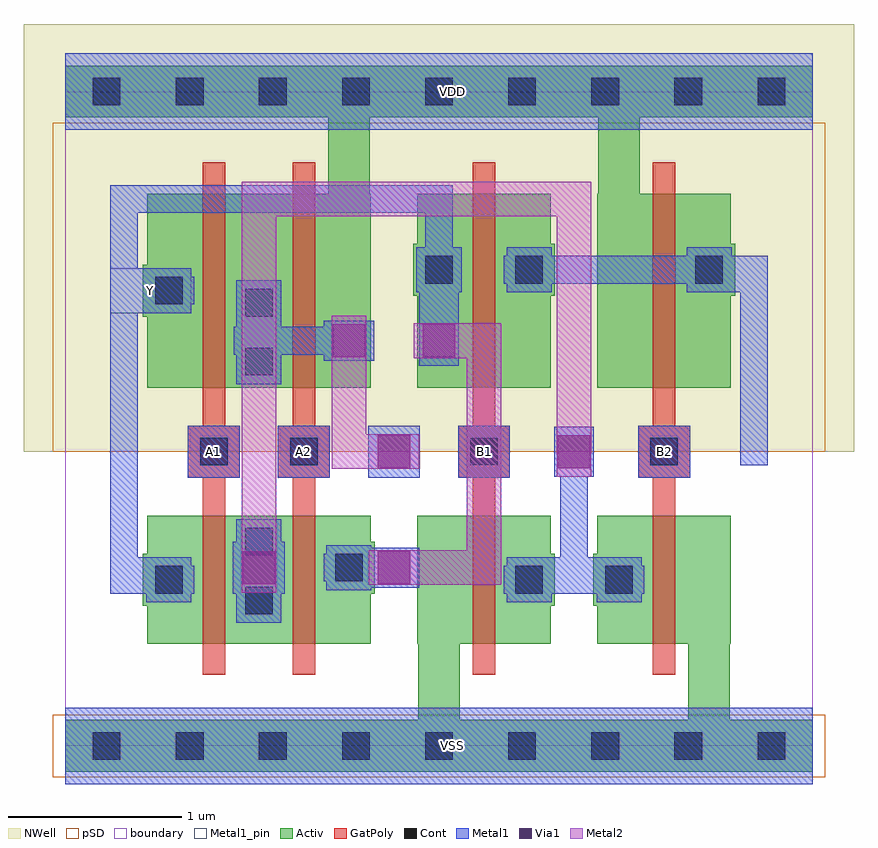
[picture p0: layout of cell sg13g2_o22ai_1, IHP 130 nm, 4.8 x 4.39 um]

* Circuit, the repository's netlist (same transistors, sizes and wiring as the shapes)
.SUBCKT sg13g2_o22ai_1 Y A1 A2 B1 B2 VDD VSS
*.PININFO A1:I A2:I B1:I B2:I Y:O VDD:B VSS:B
MN0 Y A1 net1 VSS sg13_lv_nmos w=740.00n l=130.00n ng=1
MN1 Y A2 net1 VSS sg13_lv_nmos w=740.00n l=130.00n ng=1
MN2 net1 B1 VSS VSS sg13_lv_nmos w=740.00n l=130.00n ng=1
MN3 net1 B2 VSS VSS sg13_lv_nmos w=740.00n l=130.00n ng=1
MP0 Y A1 net2 VDD sg13_lv_pmos w=1.12u l=130.00n ng=1
MP1 net2 A2 VDD VDD sg13_lv_pmos w=1.12u l=130.00n ng=1
MP2 Y B1 net3 VDD sg13_lv_pmos w=1.12u l=130.00n ng=1
MP3 net3 B2 VDD VDD sg13_lv_pmos w=1.12u l=130.00n ng=1
.ENDS

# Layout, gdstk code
import gdstk
lib = gdstk.Library(unit=1e-6, precision=1e-09)
def R(c, l, rs):  # rectangles x0, y0, x1, y1
    for r in rs: c.add(gdstk.rectangle(r[:2], r[2:], *l))
def A(c, l, x, y, w, h, nx, ny, dx, dy):  # array of equal rectangles
    R(c, l, [(x+i*dx, y+j*dy, x+i*dx+w, y+j*dy+h) for i in range(nx) for j in range(ny)])
def P(c, l, *ps):  # polygons
    for p in ps: c.add(gdstk.Polygon(p, *l))
Activ = (1, 0)
GatPoly = (5, 0)
Cont = (6, 0)
Metal1 = (8, 0)
Metal1_pin = (8, 2)
Metal2 = (10, 0)
pSD = (14, 0)
Via1 = (19, 0)
NWell = (31, 0)
boundary = (189, 4)

sg13g2_o22ai_1 = lib.new_cell('sg13g2_o22ai_1')
P(sg13g2_o22ai_1, Activ, [(0,-0.15),(4.32,-0.15),(4.32,0.15),(3.84,0.15),(3.84,0.59),(3.845,0.59),(3.845,1.33),(3.075,1.33),(3.075,1.11),(3.05,1.11),(3.05,0.81),(3.075,0.81),(3.075,0.59),(3.6,0.59),(3.6,0.15),(2.28,0.15),(2.28,0.59),(2.805,0.59),(2.805,0.81),(2.83,0.81),(2.83,1.11),(2.805,1.11),(2.805,1.33),(2.035,1.33),(2.035,0.59),(2.04,0.59),(2.04,0.15),(0,0.15)],
  [(0,3.63),(1.52,3.63),(1.52,3.19),(0.475,3.19),(0.475,2.78),(0.45,2.78),(0.45,2.48),(0.475,2.48),(0.475,2.07),(1.765,2.07),(1.765,3.19),(1.76,3.19),(1.76,3.63),(3.08,3.63),(3.08,3.19),(3.075,3.19),(3.075,2.07),(3.845,2.07),(3.845,2.6),(3.87,2.6),(3.87,2.9),(3.845,2.9),(3.845,3.19),(3.32,3.19),(3.32,3.63),(4.32,3.63),(4.32,3.93),(0,3.93)],
  [(0.45,0.81),(0.475,0.81),(0.475,0.59),(1.765,0.59),(1.765,0.88),(1.79,0.88),(1.79,1.18),(1.765,1.18),(1.765,1.33),(0.475,1.33),(0.475,1.11),(0.45,1.11)],
  [(2.01,2.6),(2.035,2.6),(2.035,2.07),(2.805,2.07),(2.805,2.6),(2.83,2.6),(2.83,2.9),(2.805,2.9),(2.805,3.19),(2.035,3.19),(2.035,2.9),(2.01,2.9)])
P(sg13g2_o22ai_1, GatPoly, [(0.71,1.55),(0.795,1.55),(0.795,0.41),(0.925,0.41),(0.925,1.55),(1.01,1.55),(1.01,1.85),(0.925,1.85),(0.925,3.37),(0.795,3.37),(0.795,1.85),(0.71,1.85)],
  [(1.23,1.55),(1.315,1.55),(1.315,0.41),(1.445,0.41),(1.445,1.55),(1.53,1.55),(1.53,1.85),(1.445,1.85),(1.445,3.37),(1.315,3.37),(1.315,1.85),(1.23,1.85)],
  [(2.27,1.55),(2.355,1.55),(2.355,0.41),(2.485,0.41),(2.485,1.55),(2.57,1.55),(2.57,1.85),(2.485,1.85),(2.485,3.37),(2.355,3.37),(2.355,1.85),(2.27,1.85)],
  [(3.31,1.55),(3.395,1.55),(3.395,0.41),(3.525,0.41),(3.525,1.55),(3.61,1.55),(3.61,1.85),(3.525,1.85),(3.525,3.37),(3.395,3.37),(3.395,1.85),(3.31,1.85)])
A(sg13g2_o22ai_1, Cont, 0.16, -0.08, 0.16, 0.16, 9, 2, 0.48, 3.78)
A(sg13g2_o22ai_1, Cont, 1.3, 1.62, 0.16, 0.16, 3, 1, 1.04, 0)
R(sg13g2_o22ai_1, Cont, [(1.04,0.76,1.2,0.92), (0.52,0.88,0.68,1.04), (2.6,0.88,2.76,1.04), (3.12,0.88,3.28,1.04), (1.56,0.95,1.72,1.11), (1.04,1.1,1.2,1.26), (0.78,1.62,0.94,1.78), (1.04,2.14,1.2,2.3), (1.04,2.48,1.2,2.64), (0.52,2.55,0.68,2.71), (2.08,2.67,2.24,2.83), (2.6,2.67,2.76,2.83), (3.64,2.67,3.8,2.83)])
A(sg13g2_o22ai_1, Metal1, 0.71, 1.55, 0.3, 0.3, 4, 1, 0.52, 0)
R(sg13g2_o22ai_1, Metal1, [(0,-0.22,4.32,0.22), (3.31,1.55,3.61,1.85), (0,3.56,4.32,4)])
P(sg13g2_o22ai_1, Metal1, [(0.26,0.88),(0.47,0.88),(0.47,0.83),(0.73,0.83),(0.73,0.88),(0.745,0.88),(0.745,1.04),(0.73,1.04),(0.73,1.09),(0.42,1.09),(0.42,2.5),(0.73,2.5),(0.73,2.55),(0.745,2.55),(0.745,2.71),(0.73,2.71),(0.73,2.76),(0.42,2.76),(0.42,3.08),(2.08,3.08),(2.08,2.88),(2.03,2.88),(2.03,2.62),(2.045,2.62),(2.045,2.195),(2.275,2.195),(2.275,2.62),(2.29,2.62),(2.29,2.88),(2.24,2.88),(2.24,3.24),(0.26,3.24)],
  [(0.97,0.88),(0.99,0.88),(0.99,0.71),(1.25,0.71),(1.25,0.88),(1.27,0.88),(1.27,1.18),(1.25,1.18),(1.25,1.31),(0.99,1.31),(0.99,1.18),(0.97,1.18)],
  [(0.975,2.26),(0.99,2.26),(0.99,2.09),(1.25,2.09),(1.25,2.26),(1.495,2.26),(1.495,2.225),(1.785,2.225),(1.785,2.455),(1.495,2.455),(1.495,2.42),(1.25,2.42),(1.25,2.69),(0.99,2.69),(0.99,2.42),(0.975,2.42)],
  [(1.495,0.95),(1.51,0.95),(1.51,0.9),(1.77,0.9),(1.77,0.915),(2.045,0.915),(2.045,1.145),(1.77,1.145),(1.77,1.16),(1.51,1.16),(1.51,1.11),(1.495,1.11)],
  [(2.535,0.88),(2.55,0.88),(2.55,0.83),(2.81,0.83),(2.81,0.88),(3.07,0.88),(3.07,0.83),(3.33,0.83),(3.33,0.88),(3.345,0.88),(3.345,1.04),(3.33,1.04),(3.33,1.09),(3.02,1.09),(3.02,1.555),(3.055,1.555),(3.055,1.845),(2.825,1.845),(2.825,1.555),(2.86,1.555),(2.86,1.09),(2.55,1.09),(2.55,1.04),(2.535,1.04)],
  [(2.535,2.67),(2.55,2.67),(2.55,2.62),(2.81,2.62),(2.81,2.67),(3.59,2.67),(3.59,2.62),(3.9,2.62),(3.9,1.62),(4.06,1.62),(4.06,2.83),(3.85,2.83),(3.85,2.88),(3.59,2.88),(3.59,2.83),(2.81,2.83),(2.81,2.88),(2.55,2.88),(2.55,2.83),(2.535,2.83)])
A(sg13g2_o22ai_1, Metal1_pin, 1.23, 1.55, 0.3, 0.3, 3, 1, 1.04, 0)
R(sg13g2_o22ai_1, Metal1_pin, [(0,-0.22,4.32,0.22), (0.71,1.55,1.01,1.85), (0.26,2.5,0.73,2.76), (0,3.56,4.32,4)])
P(sg13g2_o22ai_1, Metal2, [(1.02,0.885),(1.22,0.885),(1.22,3.06),(2.84,3.06),(2.84,1.555),(3.04,1.555),(3.04,3.26),(1.02,3.26)],
  [(1.54,1.6),(2.045,1.6),(2.045,1.8),(1.74,1.8),(1.74,2.485),(1.54,2.485)],
  [(1.755,0.93),(2.52,0.93),(2.52,2.44),(2.015,2.44),(2.015,2.24),(2.32,2.24),(2.32,1.13),(1.755,1.13)])
R(sg13g2_o22ai_1, pSD, [(-0.07,-0.18,4.39,0.18), (-0.07,1.7,4.39,3.6)])
R(sg13g2_o22ai_1, Via1, [(1.025,0.935,1.215,1.125), (1.805,0.935,1.995,1.125), (1.805,1.605,1.995,1.795), (2.845,1.605,3.035,1.795), (1.545,2.245,1.735,2.435), (2.065,2.245,2.255,2.435)])
R(sg13g2_o22ai_1, NWell, [(-0.24,1.7,4.56,4.17)])
R(sg13g2_o22ai_1, boundary, [(0,0,4.32,3.78)])
sg13g2_o22ai_1.add(gdstk.Label('Y', (0.495,2.63), layer=8, texttype=25))
sg13g2_o22ai_1.add(gdstk.Label('A1', (0.86,1.7), layer=8, texttype=25))
sg13g2_o22ai_1.add(gdstk.Label('A2', (1.38,1.7), layer=8, texttype=25))
sg13g2_o22ai_1.add(gdstk.Label('B1', (2.42,1.7), layer=8, texttype=25))
sg13g2_o22ai_1.add(gdstk.Label('B2', (3.46,1.7), layer=8, texttype=25))
sg13g2_o22ai_1.add(gdstk.Label('VSS', (2.24,0), layer=8, texttype=25))
sg13g2_o22ai_1.add(gdstk.Label('VDD', (2.24,3.78), layer=8, texttype=25))

lib.write_gds('sg13g2_o22ai_1.gds')
